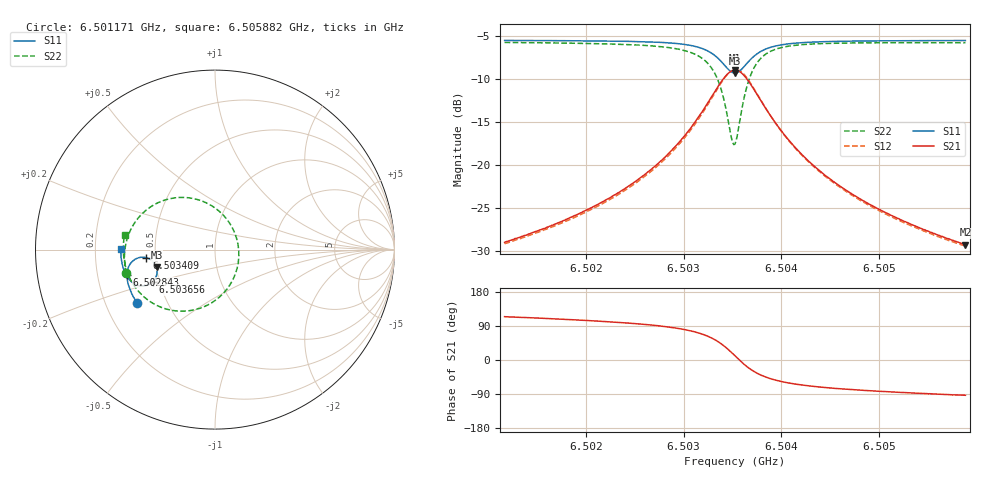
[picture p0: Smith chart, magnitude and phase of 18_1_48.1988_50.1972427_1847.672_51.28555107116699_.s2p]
#  HZ  S  RI  R  50.00
! Rohde & Schwarz Vector Network Analyzer
! Rohde-Schwarz,ZNB20-2Port,1311601062101988,3.16
! Created: UTC 3/20/2024, 11:36:49 AM
! freq[Hz]  re:S11  im:S11  re:S21  im:S21  re:S12  im:S12  re:S22  im:S22
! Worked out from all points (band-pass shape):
!   401 points, 6.501171 GHz to 6.505882 GHz, reference 50 ohm
!   highest |S21| = -9.01 dB at 6.503527 GHz (marker M1); lowest = -29.2 dB at 6.505882 GHz (marker M2)
!   |S21| within 3 dB of the highest: 6.503292 GHz to 6.503762 GHz (470.7 kHz wide, 0.00724 % of centre)
!   lowest |S11| = -9.4 dB at 6.503527 GHz (marker M3), VSWR 2.03, Z = 25 - j5.61 ohm
!   |S11| at or under -10 dB: nowhere
!   |S22| runs from -17.6 to -5.8 dB; largest |S21 - S12| = 0.012
!   S11 on the Smith chart (normalised r, x): 6.501171 GHz: 0.34, -0.27; 6.502843 GHz: 0.33, -0.12; 6.503409 GHz: 0.45, -0.05; 6.503656 GHz: 0.46, -0.20; 6.505882 GHz: 0.31, +0.00
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6.5011705e9  -0.4361 -0.295  -0.0147 0.0325  -0.0129 0.0326  -0.4952 -0.1328
6.5019598e9  -0.4687 -0.2346  -0.0137 0.0513  -0.0112 0.0508  -0.5046 -0.045
6.5023721e9  -0.4824 -0.1968  -0.0108 0.0706  -0.00759 0.0693  -0.4996 0.0166
6.502749e9  -0.4904 -0.1531  -0.000342 0.1034  0.00343 0.1006  -0.4761 0.0972
6.5028433e9  -0.4907 -0.1396  0.00569 0.1159  0.00961 0.1127  -0.463 0.124
6.5030435e9  -0.4849 -0.1049  0.0308 0.1526  0.0345 0.1478  -0.4107 0.1949
6.5031849e9  -0.4683 -0.0743  0.0725 0.1879  0.0752 0.1816  -0.3298 0.2548
6.5033145e9  -0.4307 -0.0473  0.1532 0.2141  0.1535 0.2078  -0.1837 0.2908
6.5034087e9  -0.3821 -0.045  0.2485 0.1962  0.2484 0.1916  -0.0186 0.2444
6.5034912e9  -0.3372 -0.0759  0.3296 0.1178  0.3322 0.1139  0.1112 0.0895
6.5035265e9  -0.3259 -0.0992  0.3479 0.0669  0.3518 0.0614  0.1324 -0.00668
6.5035501e9  -0.3228 -0.1163  0.3513 0.0307  0.3556 0.0238  0.1295 -0.0733
6.5035854e9  -0.325 -0.1417  0.3433 -0.0217  0.3471 -0.031  0.1002 -0.1665
6.5036561e9  -0.3482 -0.1808  0.2939 -0.1014  0.2941 -0.1133  -0.0164 -0.295
6.5037503e9  -0.3908 -0.2014  0.2117 -0.1461  0.2068 -0.1568  -0.1838 -0.3432
6.503821e9  -0.4181 -0.2016  0.1621 -0.1511  0.1551 -0.1595  -0.2769 -0.3296
6.5039035e9  -0.4421 -0.1944  0.1198 -0.1448  0.1123 -0.1505  -0.351 -0.2962
6.5040802e9  -0.4736 -0.1716  0.0676 -0.121  0.0608 -0.1234  -0.4354 -0.2217
6.5043158e9  -0.4951 -0.142  0.0358 -0.0945  0.0306 -0.095  -0.4808 -0.1459
6.5046692e9  -0.5109 -0.1035  0.0158 -0.0693  0.0122 -0.0689  -0.5042 -0.0689
6.505105e9  -0.5204 -0.0621  0.00554 -0.0516  0.00305 -0.0507  -0.5107 -0.00298
6.5058825e9  -0.526 0.00493  -0.00186 -0.0345  -0.0034 -0.0338  -0.5038 0.0832
